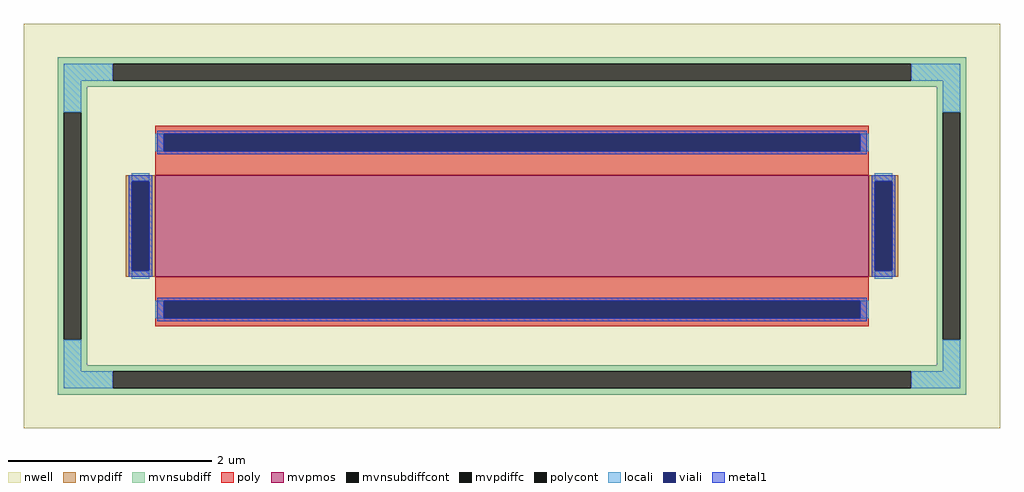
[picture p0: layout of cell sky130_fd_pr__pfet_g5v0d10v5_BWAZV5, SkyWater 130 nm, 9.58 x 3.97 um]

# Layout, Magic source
magic
tech sky130A
magscale 1 2
<< nwell >>
rect -958 -397 958 397
<< mvpmos >>
rect -700 -100 700 100
<< mvpdiff >>
rect -758 88 -700 100
rect -758 -88 -746 88
rect -712 -88 -700 88
rect -758 -100 -700 -88
rect 700 88 758 100
rect 700 -88 712 88
rect 746 -88 758 88
rect 700 -100 758 -88
<< mvpdiffc >>
rect -746 -88 -712 88
rect 712 -88 746 88
<< mvnsubdiff >>
rect -892 319 892 331
rect -892 285 -784 319
rect 784 285 892 319
rect -892 273 892 285
rect -892 223 -834 273
rect -892 -223 -880 223
rect -846 -223 -834 223
rect 834 223 892 273
rect -892 -273 -834 -223
rect 834 -223 846 223
rect 880 -223 892 223
rect 834 -273 892 -223
rect -892 -285 892 -273
rect -892 -319 -784 -285
rect 784 -319 892 -285
rect -892 -331 892 -319
<< mvnsubdiffcont >>
rect -784 285 784 319
rect -880 -223 -846 223
rect 846 -223 880 223
rect -784 -319 784 -285
<< poly >>
rect -700 181 700 197
rect -700 147 -684 181
rect 684 147 700 181
rect -700 100 700 147
rect -700 -147 700 -100
rect -700 -181 -684 -147
rect 684 -181 700 -147
rect -700 -197 700 -181
<< polycont >>
rect -684 147 684 181
rect -684 -181 684 -147
<< locali >>
rect -880 285 -784 319
rect 784 285 880 319
rect -880 223 -846 285
rect 846 223 880 285
rect -700 147 -684 181
rect 684 147 700 181
rect -746 88 -712 104
rect -746 -104 -712 -88
rect 712 88 746 104
rect 712 -104 746 -88
rect -700 -181 -684 -147
rect 684 -181 700 -147
rect -880 -285 -846 -223
rect 846 -285 880 -223
rect -880 -319 -784 -285
rect 784 -319 880 -285
<< viali >>
rect -684 147 684 181
rect -746 -88 -712 88
rect 712 -88 746 88
rect -684 -181 684 -147
<< metal1 >>
rect -696 181 696 187
rect -696 147 -684 181
rect 684 147 696 181
rect -696 141 696 147
rect -752 88 -706 100
rect -752 -88 -746 88
rect -712 -88 -706 88
rect -752 -100 -706 -88
rect 706 88 752 100
rect 706 -88 712 88
rect 746 -88 752 88
rect 706 -100 752 -88
rect -696 -147 696 -141
rect -696 -181 -684 -147
rect 684 -181 696 -147
rect -696 -187 696 -181
<< properties >>
string FIXED_BBOX -863 -302 863 302
string gencell sky130_fd_pr__pfet_g5v0d10v5
string library sky130
string parameters w 1.0 l 7.0 m 1 nf 1 diffcov 100 polycov 100 guard 1 glc 1 grc 1 gtc 1 gbc 1 tbcov 100 rlcov 100 topc 1 botc 1 poverlap 0 doverlap 1 lmin 0.50 wmin 0.42 compatible {sky130_fd_pr__pfet_01v8  sky130_fd_pr__pfet_01v8_lvt sky130_fd_pr__pfet_01v8_hvt  sky130_fd_pr__pfet_g5v0d10v5} full_metal 1 viasrc 100 viadrn 100 viagate 100 viagb 0 viagr 0 viagl 0 viagt 0
<< end >>
